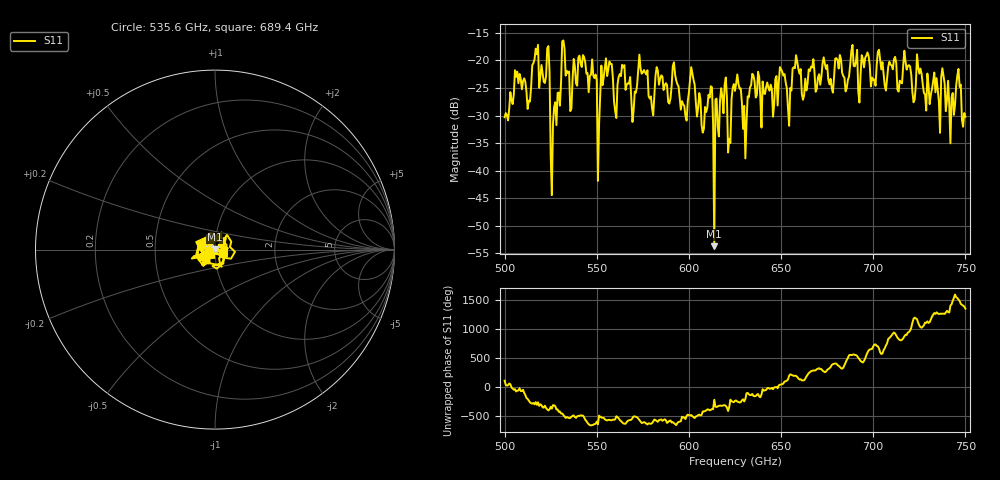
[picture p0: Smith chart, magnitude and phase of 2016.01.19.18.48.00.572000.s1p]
!Created with skrf (http://scikit-rf.org).
# GHz S RI R 50.0
!freq ReS11 ImS11
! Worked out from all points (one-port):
!   401 points, 500 GHz to 750 GHz, reference 50 ohm
!   lowest |S11| = -53.7 dB at 613.8 GHz (marker M1), VSWR 1.00, Z = 49.8 + j0.112 ohm
!   |S11| at or under -10 dB: start of sweep to end of sweep
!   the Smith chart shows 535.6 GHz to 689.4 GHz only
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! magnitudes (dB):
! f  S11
! 500 GHz  -30.3
! 506.9 GHz  -22.0
! 513.1 GHz  -27.3
! 516.9 GHz  -17.9
! 523.1 GHz  -17.8
! 526.2 GHz  -31.5
! 531.2 GHz  -16.6
! 548.8 GHz  -23.2
! 550.6 GHz  -41.8
! 553.8 GHz  -23.1
! 562.5 GHz  -22.5
! 593.8 GHz  -24.3
! 598.1 GHz  -30.1
! 601.9 GHz  -22.4
! 608.1 GHz  -32.4
! 611.2 GHz  -26.7
! 613.8 GHz  -53.7
! 618.8 GHz  -29.6
! 622.5 GHz  -35.0
! 625 GHz  -25.5
! 630 GHz  -28.2
! 634.4 GHz  -22.4
! 656.2 GHz  -21.5
! 687.5 GHz  -20.8
! 718.8 GHz  -21.0
! 742.5 GHz  -26.7
! 746.2 GHz  -21.5
! 750 GHz  -30.2
